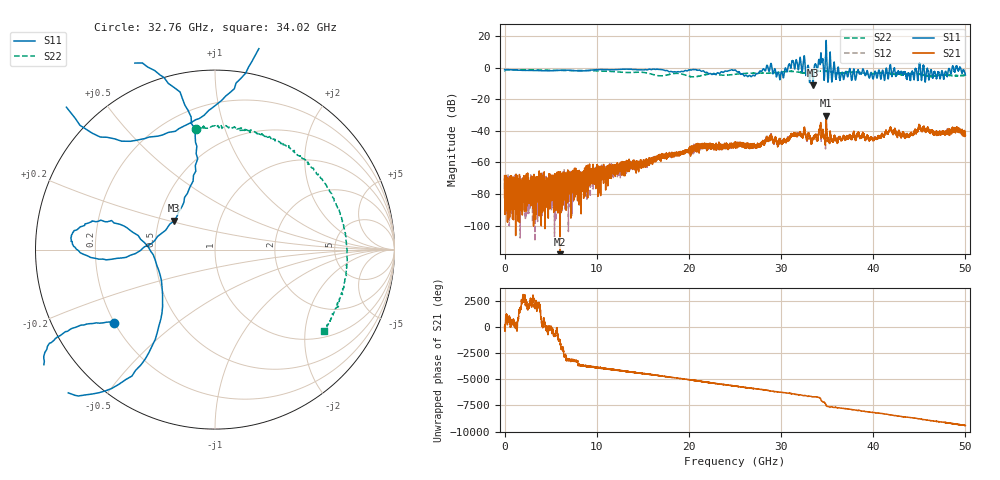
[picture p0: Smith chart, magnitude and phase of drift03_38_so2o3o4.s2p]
!Created with skrf (http://scikit-rf.org).
# Hz S RI R 50.0
!freq ReS11 ImS11 ReS21 ImS21 ReS12 ImS12 ReS22 ImS22
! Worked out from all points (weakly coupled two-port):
!   10001 points, 300 kHz to 50 GHz, reference 50 ohm
!   highest |S21| = -30.35 dB at 34.9 GHz (marker M1); lowest = -119.9 dB at 6.02 GHz (marker M2)
!   lowest |S11| = -11.1 dB at 33.47 GHz (marker M3), VSWR 1.77, Z = 30.1 + j10.5 ohm
!   |S11| at or under -10 dB: 33.44811 GHz to 33.48548 GHz (37.37 MHz wide, 0.112 % of centre)
!   |S22| runs from -5.9 to -1.3 dB; largest |S21 - S12| = 0.0075
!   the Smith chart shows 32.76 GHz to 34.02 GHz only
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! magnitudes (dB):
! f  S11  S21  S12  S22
! 300 kHz  -1.3  -68.4  -67.8  -2.1
! 615.3 MHz  -1.4  -78.2  -83.1  -1.5
! 6.02 GHz  -1.8  -119.9  -68.2  -1.8
! 8.335 GHz  -2.2  -69.9  -71.3  -1.9
! 16.67 GHz  -1.1  -56.3  -57.4  -5.2
! 21.25 GHz  -1.9  -49.9  -49.7  -5.2
! 25 GHz  -1.5  -48.5  -49.1  -4.3
! 26.92 GHz  -4.9  -49.8  -48.8  -3.5
! 28.73 GHz  -2.2  -45.5  -45.0  -3.5
! 30.06 GHz  -2.5  -47.2  -47.7  -2.8
! 31.87 GHz  -1.5  -42.8  -42.4  -2.9
! 33.34 GHz  -2.2  -47.3  -47.4  -2.9
! 33.47 GHz  -11.1  -44.8  -44.9  -2.8
! 34.29 GHz  6.1  -36.0  -36.0  -2.3
! 34.9 GHz  17.1  -30.4  -31.5  -2.4
! 36.58 GHz  -3.4  -46.0  -45.9  -3.5
! 40.17 GHz  -2.5  -44.1  -44.5  -3.7
! 41.67 GHz  -5.6  -40.1  -40.3  -3.7
! 45.21 GHz  -6.6  -39.0  -39.3  -4.5
! 47.06 GHz  -2.8  -41.7  -41.9  -5.1
! 49.21 GHz  -2.0  -39.4  -39.3  -5.2
! 50 GHz  -4.7  -42.9  -41.4  -5.0
